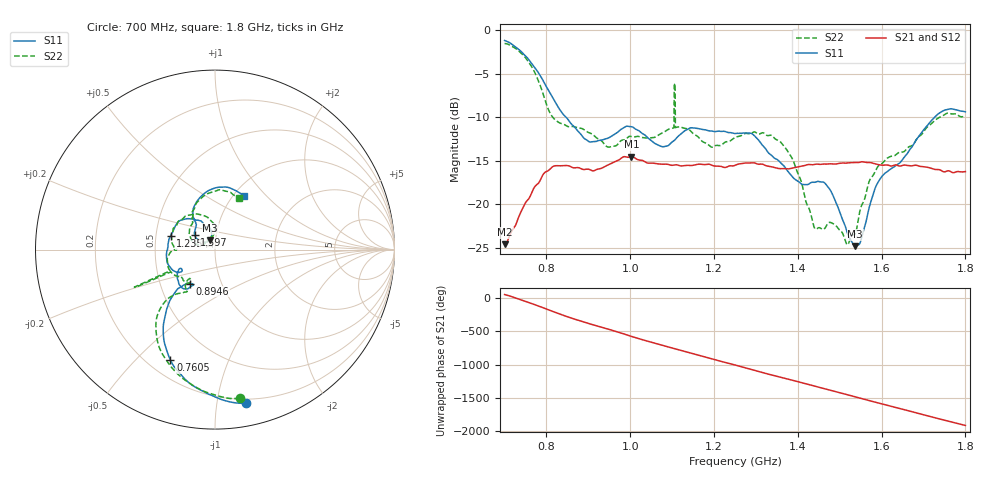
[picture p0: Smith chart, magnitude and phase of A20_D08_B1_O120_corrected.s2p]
! Created with skrf 1.9.0 (http://scikit-rf.org).
# Hz S RI R 50.0
!freq ReS11 ImS11 ReS21 ImS21 ReS12 ImS12 ReS22 ImS22
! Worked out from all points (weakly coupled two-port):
!   1601 points, 700 MHz to 1.8 GHz, reference 50 ohm
!   highest |S21| = -14.51 dB at 1.002 GHz (marker M1); lowest = -24.6 dB at 701.4 MHz (marker M2)
!   lowest |S11| = -24.8 dB at 1.537 GHz (marker M3), VSWR 1.12, Z = 47.1 + j4.8 ohm
!   |S11| at or under -10 dB: 847 MHz to 1.726 GHz (879.3 MHz wide, 68.3 % of centre)
!   |S22| runs from -24.6 to -1.5 dB; largest |S21 - S12| = 0.0037
!   S11 on the Smith chart (normalised r, x): 700 MHz: 0.17, -1.21; 760.5 MHz: 0.29, -0.64; 894.6 MHz: 0.71, -0.28; 1.235 GHz: 0.60, +0.10; 1.597 GHz: 0.79, +0.13; 1.8 GHz: 1.12, +0.76
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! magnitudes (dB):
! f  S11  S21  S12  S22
! 700 MHz  -1.2  -24.6  -24.4  -1.5
! 701.4 MHz  -1.2  -24.6  -24.2  -1.5
! 760.5 MHz  -3.6  -19.1  -19.0  -3.9
! 815.5 MHz  -7.8  -15.6  -15.7  -10.0
! 883.6 MHz  -12.0  -15.9  -15.8  -11.3
! 894.6 MHz  -12.6  -16.0  -16.0  -11.6
! 948.2 MHz  -12.4  -15.4  -15.5  -13.4
! 1.002 GHz  -11.1  -14.5  -14.6  -12.2
! 1.067 GHz  -13.2  -15.3  -15.3  -12.0
! 1.11 GHz  -12.4  -15.5  -15.5  -11.1
! 1.192 GHz  -11.6  -15.4  -15.4  -13.4
! 1.235 GHz  -11.7  -15.6  -15.7  -12.8
! 1.25 GHz  -11.9  -15.5  -15.4  -12.3
! 1.361 GHz  -15.3  -15.9  -15.9  -12.9
! 1.434 GHz  -17.5  -15.4  -15.4  -21.6
! 1.475 GHz  -18.2  -15.3  -15.4  -22.1
! 1.517 GHz  -23.1  -15.2  -15.2  -24.6
! 1.537 GHz  -24.8  -15.2  -15.2  -23.4
! 1.597 GHz  -17.1  -15.5  -15.4  -15.4
! 1.617 GHz  -16.1  -15.5  -15.5  -14.6
! 1.735 GHz  -9.6  -16.0  -16.1  -10.1
! 1.8 GHz  -9.4  -16.2  -16.2  -9.9
